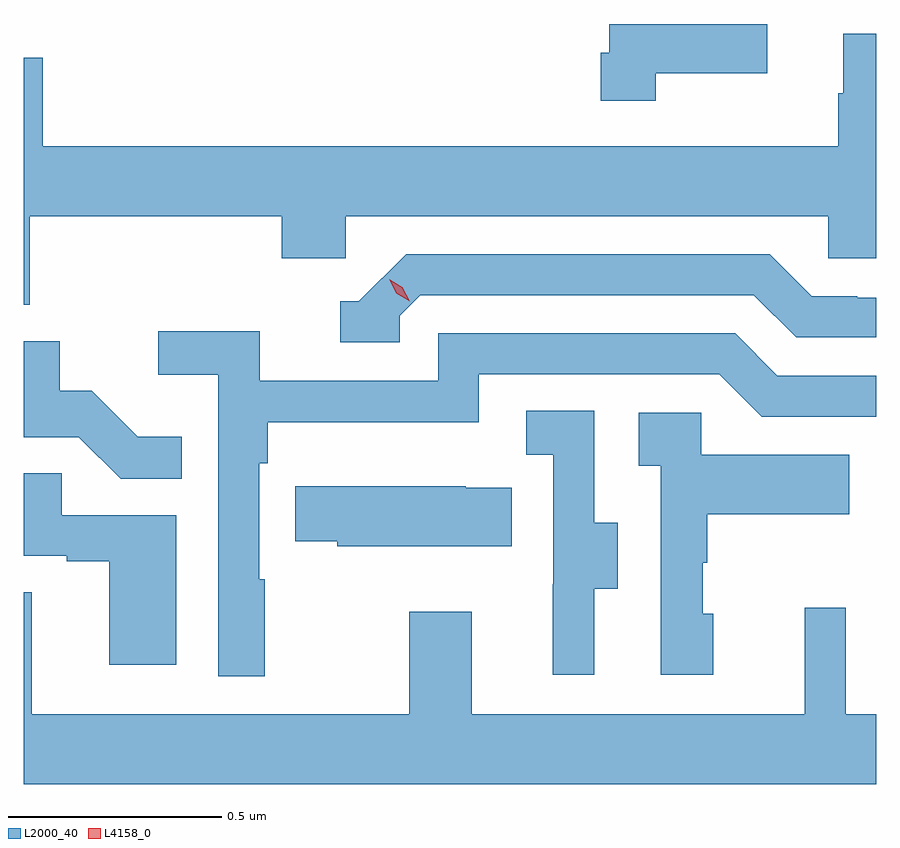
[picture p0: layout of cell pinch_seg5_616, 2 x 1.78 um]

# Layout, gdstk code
import gdstk
lib = gdstk.Library(unit=1e-6, precision=1e-09)
def P(c, l, *ps):  # polygons
    for p in ps: c.add(gdstk.Polygon(p, *l))
L2000_40 = (2000, 40)
L4158_0 = (4158, 0)

pinch_seg5_616 = lib.new_cell('pinch_seg5_616')
P(pinch_seg5_616, L2000_40, [(1022.215,861.092),(1022.476,861.092),(1022.476,861.207),(1022.106,861.207),(1022.106,861.139),(1022.086,861.139),(1022.086,861.027),(1022.215,861.027)],
  [(1020.776,861.128),(1020.732,861.128),(1020.732,860.548),(1020.746,860.548),(1020.746,860.756),(1021.337,860.756),(1021.337,860.658),(1021.488,860.658),(1021.488,860.756),(1022.619,860.756),(1022.619,860.658),(1022.732,860.658),(1022.732,861.184),(1022.654,861.184),(1022.654,861.044),(1022.643,861.044),(1022.643,860.92),(1020.776,860.92)],
  [(1021.614,860.523),(1021.662,860.571),(1022.445,860.571),(1022.544,860.472),(1022.732,860.472),(1022.732,860.565),(1022.688,860.565),(1022.688,860.568),(1022.581,860.568),(1022.482,860.667),(1021.629,860.667),(1021.518,860.556),(1021.475,860.556),(1021.475,860.46),(1021.614,860.46)],
  [(1021.297,859.904),(1021.284,859.904),(1021.284,860.177),(1021.304,860.177),(1021.304,860.273),(1021.8,860.273),(1021.8,860.385),(1022.364,860.385),(1022.463,860.286),(1022.732,860.286),(1022.732,860.382),(1022.5,860.382),(1022.401,860.481),(1021.704,860.481),(1021.704,860.37),(1021.286,860.37),(1021.286,860.486),(1021.047,860.486),(1021.047,860.384),(1021.188,860.384),(1021.188,859.677),(1021.297,859.677)],
  [(1021.103,860.239),(1020.999,860.239),(1020.892,860.346),(1020.816,860.346),(1020.816,860.463),(1020.732,860.463),(1020.732,860.238),(1020.861,860.238),(1020.959,860.14),(1021.103,860.14)],
  [(1022.071,859.882),(1022.125,859.882),(1022.125,860.037),(1022.07,860.037),(1022.07,860.3),(1021.911,860.3),(1021.911,860.197),(1021.974,860.197),(1021.974,859.893),(1021.973,859.893),(1021.973,859.68),(1022.071,859.68)],
  [(1022.35,859.824),(1022.325,859.824),(1022.325,859.943),(1022.335,859.943),(1022.335,860.057),(1022.669,860.057),(1022.669,860.197),(1022.322,860.197),(1022.322,860.295),(1022.175,860.295),(1022.175,860.171),(1022.226,860.171),(1022.226,859.68),(1022.35,859.68)],
  [(1021.09,860.055),(1020.821,860.055),(1020.821,860.153),(1020.732,860.153),(1020.732,859.959),(1020.833,859.959),(1020.833,859.947),(1020.932,859.947),(1020.932,859.704),(1021.09,859.704)],
  [(1021.877,860.119),(1021.769,860.119),(1021.769,860.122),(1021.369,860.122),(1021.369,859.993),(1021.467,859.993),(1021.467,859.982),(1021.877,859.982)],
  [(1022.732,859.588),(1022.661,859.588),(1022.661,859.837),(1022.564,859.837),(1022.564,859.588),(1021.783,859.588),(1021.783,859.828),(1021.636,859.828),(1021.636,859.588),(1020.751,859.588),(1020.751,859.874),(1020.732,859.874),(1020.732,859.424),(1022.732,859.424)])
P(pinch_seg5_616, L4158_0, [(1021.637,860.556),(1021.606,860.575),(1021.589,860.608),(1021.589,860.608),(1021.59,860.608),(1021.62,860.589),(1021.637,860.556),(1021.637,860.556)])

lib.write_gds('pinch_seg5_616.gds')
